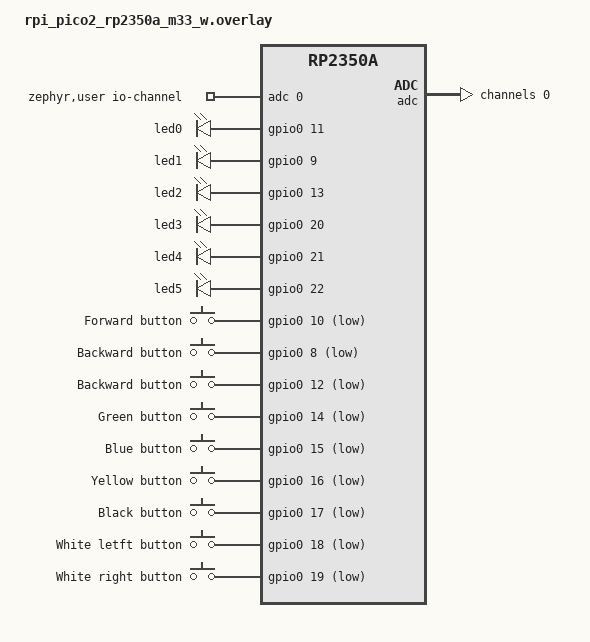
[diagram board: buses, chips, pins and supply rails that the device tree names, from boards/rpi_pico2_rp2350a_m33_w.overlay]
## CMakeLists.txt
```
cmake_minimum_required(VERSION 3.20.0)
find_package(Zephyr REQUIRED HINTS $ENV{ZEPHYR_BASE})
project(dccex-throttle)

target_sources(
	app PRIVATE
	src/banner.c
	src/buttons.c
	src/dcc.c
	src/leds.c
	src/poti.c
	src/queue.c
	src/state.c
)

target_sources_ifdef(CONFIG_WIFI
	app PRIVATE
	src/wifi_connect.c
)

target_sources_ifdef(CONFIG_SHIELD_USB_ACM_SERIAL
	app PRIVATE
	src/console.c
)
```

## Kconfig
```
config GIT_COMMIT
	string "Git commit this image was built from."
	default "unknown"

config POTI_SAMPLES
	int "Number of samples to be made on ADC channel for the potentiometer."
	default 10

config POTI_MIN
	int "The mnimum raw adc value where speed = 127 (range 0-4095)."
	default 2600

config POTI_MAX
	int "The maximum raw adc value where speed = 0 (range 0-4095)."
	default 2830

config POTI_POLL_MSEC
	int "The polling interval in milliseconds."
	default 500

config WIFI_SSID
	string "The SSID of the DCC-EX wifi to connect to."

config WIFI_PASSWORD
	string "The password for the DCC-EX wifi to connect to."

config DCC_IP
	string "The IP of the DCC-EX control center."
	default "192.168.4.1"

source "Kconfig.zephyr"
```

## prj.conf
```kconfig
# Potentiometer input
CONFIG_ADC=y

# Networking
CONFIG_NETWORKING=y
CONFIG_TEST_RANDOM_GENERATOR=y

CONFIG_MAIN_STACK_SIZE=5200
CONFIG_NET_TX_STACK_SIZE=2048
CONFIG_NET_RX_STACK_SIZE=2048

CONFIG_NET_PKT_RX_COUNT=16
CONFIG_NET_PKT_TX_COUNT=16
CONFIG_NET_BUF_RX_COUNT=128
CONFIG_NET_BUF_TX_COUNT=128
CONFIG_NET_MAX_CONTEXTS=32
CONFIG_NET_DHCPV4=y

CONFIG_NET_IPV4=y
CONFIG_NET_IPV6=n
CONFIG_NET_SOCKETS=y

CONFIG_NET_TCP=y

CONFIG_NET_LOG=y
CONFIG_INIT_STACKS=y

# Wifi
CONFIG_WIFI=y
CONFIG_WIFI_LOG_LEVEL_ERR=y
```

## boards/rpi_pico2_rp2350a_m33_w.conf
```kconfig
# Wifi hardware
CONFIG_USE_INFINEON_ABSTRACTION_RTOS=y
```

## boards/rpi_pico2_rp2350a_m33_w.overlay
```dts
/ {
	aliases {
		btn-forward = &button0;
		btn-backward = &button1;
		btn-stop = &button2;
		btn-white-left = &button7;
		btn-white-right = &button8;
		btn-yellow = &button5;
		btn-black = &button6;
		btn-green = &button3;
		btn-blue = &button4;
		led-forward = &led0;
		led-backward = &led1;
		led-stop = &led2;
		led-blue = &led3;
		led-green = &led4;
		led-red = &led5;
	};
	zephyr,user {
		io-channels = <&adc 0>;
	};

	leds {
		compatible = "gpio-leds";
		led0: led_0 {
			gpios = <&gpio0 11 GPIO_ACTIVE_HIGH>;
		};
		led1: led_1 {
			gpios = <&gpio0 9 GPIO_ACTIVE_HIGH>;
		};
		led2: led_2 {
			gpios = <&gpio0 13 GPIO_ACTIVE_HIGH>;
		};
		led3: led_3 {
			gpios = <&gpio0 20 GPIO_ACTIVE_HIGH>;
		};
		led4: led_4 {
			gpios = <&gpio0 21 GPIO_ACTIVE_HIGH>;
		};
		led5: led_5 {
			gpios = <&gpio0 22 GPIO_ACTIVE_HIGH>;
		};
	};

	buttons {
			 compatible = "gpio-keys";
			 button0: button_0 {
					 gpios = <&gpio0 10 (GPIO_PULL_UP|GPIO_ACTIVE_LOW)>;
					 label = "Forward button";
			 };
			 button1: button_1 {
					 gpios = <&gpio0 8 (GPIO_PULL_UP|GPIO_ACTIVE_LOW)>;
					 label = "Backward button";
			 };
			 button2: button_2 {
					 gpios = <&gpio0 12 (GPIO_PULL_UP|GPIO_ACTIVE_LOW)>;
					 label = "Backward button";
			 };
			 button3: button_3 {
					 gpios = <&gpio0 14 (GPIO_PULL_UP|GPIO_ACTIVE_LOW)>;
					 label = "Green button";
			 };
			 button4: button_4 {
					 gpios = <&gpio0 15 (GPIO_PULL_UP|GPIO_ACTIVE_LOW)>;
					 label = "Blue button";
			 };
			 button5: button_5 {
					 gpios = <&gpio0 16 (GPIO_PULL_UP|GPIO_ACTIVE_LOW)>;
					 label = "Yellow button";
			 };
			 button6: button_6 {
					 gpios = <&gpio0 17 (GPIO_PULL_UP|GPIO_ACTIVE_LOW)>;
					 label = "Black button";
			 };
			 button7: button_7 {
					 gpios = <&gpio0 18 (GPIO_PULL_UP|GPIO_ACTIVE_LOW)>;
					 label = "White letft button";
			 };
			 button8: button_8 {
					 gpios = <&gpio0 19 (GPIO_PULL_UP|GPIO_ACTIVE_LOW)>;
					 label = "White right button";
			 };
	 };
};

&adc {
	#address-cells = <1>;
	#size-cells = <0>;

	channel@0 {
		reg = <0>;
		zephyr,gain = "ADC_GAIN_1";
		zephyr,reference = "ADC_REF_INTERNAL";
		zephyr,acquisition-time = <ADC_ACQ_TIME_DEFAULT>;
		zephyr,resolution = <12>;
	};
};
```

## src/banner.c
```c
#include <zephyr/kernel.h>

#include "thread_prios.h"

static int app_banner() {
    printk("DCC-EX Throttle (c) 2026 Henning Eggers\n");
    printk("built version %s\n", CONFIG_GIT_COMMIT);
    return 0;
}

SYS_INIT(app_banner, APPLICATION, APP_BANNER_PRIO);
```

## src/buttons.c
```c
#include <stdint.h>
#include <sys/_types.h>
#include <zephyr/kernel.h>
#include <zephyr/drivers/gpio.h>
#include <zephyr/logging/log.h>

#include "thread_prios.h"
#include "queue.h"

LOG_MODULE_REGISTER(BUTTONS);

#define BTN_FORWARD DT_ALIAS(btn_forward)
#define BTN_BACKWARD DT_ALIAS(btn_backward)
#define BTN_STOP DT_ALIAS(btn_stop)
#define BTN_WHITE_LEFT DT_ALIAS(btn_white_left)
#define BTN_WHITE_RIGHT DT_ALIAS(btn_white_right)
#define BTN_YELLOW DT_ALIAS(btn_yellow)
#define BTN_BLACK DT_ALIAS(btn_black)
#define BTN_GREEN DT_ALIAS(btn_green)
#define BTN_BLUE DT_ALIAS(btn_blue)

#define BTN_DEBOUNCE_MSEC 500

static int btn_init();
static void btn_ctrl_init_callback(void);
static void btn_func_init_callback(void);
static void btn_ctrl_pressed(const struct device *dev, struct gpio_callback *cb, uint32_t pins);
static void btn_func_pressed(const struct device *dev, struct gpio_callback *cb, uint32_t pins);
static bool debounce(gpio_pin_t pin);

SYS_INIT(btn_init, APPLICATION, BTN_INIT_PRIO);

struct buttons
{
	struct gpio_dt_spec forward;
	struct gpio_dt_spec backward;
	struct gpio_dt_spec stop;
	struct gpio_dt_spec white_left;
	struct gpio_dt_spec white_right;
	struct gpio_dt_spec yellow;
	struct gpio_dt_spec black;
	struct gpio_dt_spec green;
	struct gpio_dt_spec blue;
};

static struct buttons buttons = {
	.forward = GPIO_DT_SPEC_GET(BTN_FORWARD, gpios),
	.backward = GPIO_DT_SPEC_GET(BTN_BACKWARD, gpios),
	.stop = GPIO_DT_SPEC_GET(BTN_STOP, gpios),
	.white_left = GPIO_DT_SPEC_GET(BTN_WHITE_LEFT, gpios),
	.white_right = GPIO_DT_SPEC_GET(BTN_WHITE_RIGHT, gpios),
	.yellow = GPIO_DT_SPEC_GET(BTN_YELLOW, gpios),
	.black = GPIO_DT_SPEC_GET(BTN_BLACK, gpios),
	.green = GPIO_DT_SPEC_GET(BTN_GREEN, gpios),
	.blue = GPIO_DT_SPEC_GET(BTN_BLUE, gpios)
};

static int btn_init()
{
	gpio_pin_configure_dt(&buttons.forward, GPIO_INPUT);
	gpio_pin_configure_dt(&buttons.backward, GPIO_INPUT);
	gpio_pin_configure_dt(&buttons.stop, GPIO_INPUT);
	gpio_pin_configure_dt(&buttons.white_left, GPIO_INPUT);
	gpio_pin_configure_dt(&buttons.white_right, GPIO_INPUT);
	gpio_pin_configure_dt(&buttons.yellow, GPIO_INPUT);
	gpio_pin_configure_dt(&buttons.black, GPIO_INPUT);
	gpio_pin_configure_dt(&buttons.green, GPIO_INPUT);
	gpio_pin_configure_dt(&buttons.blue, GPIO_INPUT);

	btn_ctrl_init_callback();
	btn_func_init_callback();

	LOG_INF("Buttons initialized");
	return 0;
}

static struct gpio_callback buttons_ctrl_cb_data;
static struct gpio_callback buttons_func_cb_data;

static void btn_ctrl_init_callback(void)
{
	unsigned int pin_mask = BIT(buttons.forward.pin) | BIT(buttons.backward.pin) | BIT(buttons.stop.pin);
	gpio_pin_interrupt_configure_dt(&buttons.forward, GPIO_INT_EDGE_FALLING);
	gpio_pin_interrupt_configure_dt(&buttons.backward, GPIO_INT_EDGE_FALLING);
	gpio_pin_interrupt_configure_dt(&buttons.stop, GPIO_INT_EDGE_FALLING);
	gpio_init_callback(&buttons_ctrl_cb_data, btn_ctrl_pressed, pin_mask);
	gpio_add_callback(buttons.forward.port, &buttons_ctrl_cb_data);
	LOG_INF("Set up callback for control buttons");
}

static void btn_func_init_callback(void)
{
	unsigned int pin_mask = 0;
	pin_mask |= BIT(buttons.white_left.pin);
	pin_mask |= BIT(buttons.white_right.pin);
	pin_mask |= BIT(buttons.yellow.pin);
	pin_mask |= BIT(buttons.black.pin);
	pin_mask |= BIT(buttons.green.pin);
	pin_mask |= BIT(buttons.blue.pin);

	gpio_pin_interrupt_configure_dt(&buttons.white_left, GPIO_INT_EDGE_FALLING);
	gpio_pin_interrupt_configure_dt(&buttons.white_right, GPIO_INT_EDGE_FALLING);
	gpio_pin_interrupt_configure_dt(&buttons.yellow, GPIO_INT_EDGE_FALLING);
	gpio_pin_interrupt_configure_dt(&buttons.black, GPIO_INT_EDGE_FALLING);
	gpio_pin_interrupt_configure_dt(&buttons.green, GPIO_INT_EDGE_FALLING);
	gpio_pin_interrupt_configure_dt(&buttons.blue, GPIO_INT_EDGE_FALLING);

	gpio_init_callback(&buttons_func_cb_data, btn_func_pressed, pin_mask);
	gpio_add_callback(buttons.white_left.port, &buttons_func_cb_data);
	LOG_INF("Set up callback for function buttons");
}

static void btn_ctrl_pressed(const struct device *dev, struct gpio_callback *cb, uint32_t pins)
{
	if (pins & BIT(buttons.forward.pin) && debounce(buttons.forward.pin))
	{
		int val = gpio_pin_get(dev, buttons.forward.pin);
		LOG_DBG("Forward button pressed, val= %d", val);
		queue_send_direction(DIR_FORWARD);
	}
	if (pins & BIT(buttons.backward.pin) && debounce(buttons.backward.pin))
	{
		int val = gpio_pin_get(dev, buttons.backward.pin);
		LOG_DBG("Backward button pressed, val= %d", val);
		queue_send_direction(DIR_BACKWARD);
	}
	if (pins & BIT(buttons.stop.pin) && debounce(buttons.stop.pin))
	{
		int val = gpio_pin_get(dev, buttons.stop.pin);
		LOG_DBG("STOP button pressed, val= %d", val);
		queue_send_stop();
	}
}

void btn_func_handle(const char* name, const struct device *dev, uint32_t pins, gpio_pin_t pin) {
	if (pins & BIT(pin))
	{
		int val = gpio_pin_get(dev, pin);
		LOG_DBG("%s button pressed, val= %d", name, val);
	}

}

static void btn_func_pressed(const struct device *dev, struct gpio_callback *cb, uint32_t pins)
{
	btn_func_handle("White left", dev, pins, buttons.white_left.pin);
	btn_func_handle("White right", dev, pins, buttons.white_right.pin);
	btn_func_handle("Yellow", dev, pins, buttons.yellow.pin);
	btn_func_handle("Black", dev, pins, buttons.black.pin);
	btn_func_handle("Green", dev, pins, buttons.green.pin);
	btn_func_handle("Blue", dev, pins, buttons.blue.pin);
}

static int64_t btn_uptime[32] = {0};

bool debounce(gpio_pin_t pin) {
	int64_t uptime = k_uptime_get();
	if(uptime - btn_uptime[pin] > BTN_DEBOUNCE_MSEC) {
		btn_uptime[pin] = uptime;
		return true;
	}
	return false;
}
```

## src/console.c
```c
#include <zephyr/kernel.h>
#include <zephyr/init.h>
#include <zephyr/device.h>
#include <zephyr/drivers/uart.h>

#include "thread_prios.h"

BUILD_ASSERT(DT_NODE_HAS_COMPAT(DT_CHOSEN(zephyr_console), zephyr_cdc_acm_uart),
	"Console device is not ACM CDC UART device");

int console_init() {
	const struct device *dev = DEVICE_DT_GET(DT_CHOSEN(zephyr_console));
	uint32_t dtr = 0;

	while (!dtr) {
		uart_line_ctrl_get(dev, UART_LINE_CTRL_DTR, &dtr);
		k_sleep(K_MSEC(100));
	}
	return 0;
}

SYS_INIT(console_init, APPLICATION, CONSOLE_INIT_PRIO);
```

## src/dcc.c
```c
#include <stdint.h>
#include <sys/types.h>
#include <zephyr/kernel.h>
#include <zephyr/init.h>
#include <zephyr/logging/log.h>
#include <zephyr/net/socket.h>

#include "leds.h"
#include "queue.h"
#include "thread_prios.h"
#include "state.h"

LOG_MODULE_REGISTER(DCC);

#define SEND_THREAD_STACK_SIZE 1024
#define RECV_THREAD_STACK_SIZE 1024

typedef struct dcc_connection {
	int sock;
} DccConnection;

typedef struct dcc_message {
	int addr;
	int speed;
	int direction;
} DccCommand;

DccConnection dcc_conn = {
	.sock = -1
};

DccCommand last_cmd = {
	.addr = 3,
	.speed = 0,
	.direction = 1
};


#define DCC_ON "<1>"
#define DCC_OFF "<0>"
#define DCC_PING "<#>"
#define DCC_STOP "<!>"
#define DCC_LOCO_STAT "<t 3>"

static int dcc_connect();
static void dcc_send_thread_entry(void *arg1, void *arg2, void *arg3);
static void dcc_recv_thread_entry(void *arg1, void *arg2, void *arg3);
static void update_cmd_from_state(Velocity state, DccCommand *cmd);
static int dcc_send(DccConnection* conn, char* command);
static void dcc_format_command(char *cmd_buffer, DccCommand cmd);
static void dcc_function_command(char *cmd_buffer, int addr, int function, int onoff);
static int recv_answer(DccConnection *conn, char* answer);
static bool dcc_decode_answer(char *answer, Velocity *current);
static Velocity dcc_decode_velocity(int velocity);

SYS_INIT(dcc_connect, APPLICATION, DCC_CONNECT_PRIO);

K_THREAD_DEFINE(dcc_send_thread, SEND_THREAD_STACK_SIZE,
				dcc_send_thread_entry, &dcc_conn, NULL, NULL,
				SEND_THREAD_PRIORITY, 0, 0);

K_THREAD_DEFINE(dcc_recv_thread, RECV_THREAD_STACK_SIZE,
				dcc_recv_thread_entry, &dcc_conn, NULL, NULL,
				RECV_THREAD_PRIORITY, 0, 0);

int dcc_connect() {
	char *dcc_ip = CONFIG_DCC_IP;
	LOG_INF("Connecting to DCC at %s", dcc_ip);

	struct sockaddr_in addr4 = {
		.sin_family = AF_INET,
		.sin_port = htons(2560)
	};
	zsock_inet_pton(AF_INET, dcc_ip, &addr4.sin_addr);

	int sock = zsock_socket(AF_INET, SOCK_STREAM, IPPROTO_TCP);
	if (sock < 0) {
		LOG_ERR("Creating socket failed: %d", errno);
		return -errno;
	}

	int ret;
	while (1) {
		ret = zsock_connect(sock, (struct sockaddr *)&addr4, sizeof(addr4));
		if (ret == 0) {
			LOG_INF("Connected to DCC at %s", dcc_ip);
			break;
		}
		LOG_ERR("Cannot connect to TCP remote: %s. Retrying.", strerror(errno));
	}

	dcc_conn.sock = sock;

	leds_set_stage(STAGE_BLUE);
	return 0;
}

static void dcc_send_thread_entry(void *arg1, void *arg2, void *arg3) {
	LOG_INF("send_thread starting");
	DccConnection *conn = (DccConnection *)arg1;
	char dcc_command[20];
	Velocity current;
	dcc_function_command(dcc_command, last_cmd.addr, 0, 1);
	dcc_send(conn, dcc_command);
	int seconds_since_last_send = 0;
	while(1) {
		if(wait_velocity_change(&current, K_SECONDS(1))) {
			LOG_INF("changed");
			leds_update_from_velocity(current);
			if(current.stop) {
				dcc_send(conn, DCC_STOP);
			} else {
				update_cmd_from_state(current, &last_cmd);
				dcc_format_command(dcc_command, last_cmd);
				dcc_send(conn, dcc_command);
			}
			seconds_since_last_send = 0;
		} else if(seconds_since_last_send > 60) {
			dcc_send(conn, DCC_PING);
			seconds_since_last_send = 0;
		}
		seconds_since_last_send++;
	}
}

static void dcc_recv_thread_entry(void *arg1, void *arg2, void *arg3)
{
	LOG_INF("recv_thread starting");
	DccConnection *conn = (DccConnection *)arg1;
	Velocity current = {
		.speed = 0,
		.direction = DIR_FORWARD,
		.stop = false
	};
	char answer[101];
	while (1) {
		int ret = recv_answer(conn, answer);
		if(ret > 0 && dcc_decode_answer(answer, &current)) {
			LOG_INF("speed: %d, direction: %d ", current.speed, current.direction);
		}
	}
}

void update_cmd_from_state(Velocity state, DccCommand *cmd) {
	cmd->speed = state.speed;
	cmd->direction = state.direction;
}

int recv_answer(DccConnection *conn, char* answer){
	int ret;

	LOG_DBG("Trying to recv...");

	ret = zsock_recv(conn->sock, answer, 100, 0);
	LOG_INF("Received: %d", ret);

	if (ret < 0) {
		LOG_ERR("Cannot recv from remote: %s", strerror(errno));
	} else 	if (ret == 0) {
		LOG_DBG("Received nothing");
		k_sleep(K_MSEC(100));
	} else {
		answer[ret] = '\0';
		LOG_INF("'%s'", answer);
	}
	return ret;
}

bool dcc_decode_answer(char *answer, Velocity *current) {
	int velocity, flags;
	int n_decoded = sscanf(answer, "<l 3 0 %d %d>", &velocity, &flags);
	if(n_decoded == 2) {
		*current = dcc_decode_velocity(velocity);
		return true;
	}
	return false;
}

Velocity dcc_decode_velocity(int velocity) {
	Velocity new_velocity;
	if (velocity > 127 ) {
		new_velocity.direction = DIR_FORWARD;
		velocity -= 129;
	} else {
		new_velocity.direction = DIR_BACKWARD;
		velocity -= 1;
	}
	new_velocity.speed = velocity <= 0 ? 0 : velocity;
	new_velocity.stop = velocity == 0;
	return new_velocity;
}

int dcc_send(DccConnection* conn, char* command) {
	int ret;
	LOG_INF("Sending command '%s'", command);
	ret = zsock_send(conn->sock, command, strlen(command), 0);
	if (ret < 0) {
		LOG_ERR("Cannot send to remote: %s", strerror(errno));
		return -errno;
	}

	return 0;
}

void dcc_format_command(char *cmd_buffer, DccCommand cmd){
	sprintf(cmd_buffer, "<t %d %d %d>", cmd.addr, cmd.speed, cmd.direction);
}

void dcc_function_command(char *cmd_buffer, int addr, int function, int onoff){
	sprintf(cmd_buffer, "<F %d %d %d>", addr, function, onoff);
}


// Ping (no of loco slots) "<#>"
// Track Info "<=>"
// Power on Track A "<1 A>"
// Power off Track A "<0 A>"
// Loco roster "<J R>"
// Loco 3 stop fwd "<F 3 0 0>"
// Loco 3 stop bwd "<F 3 0 1>"
// Loco 3 all off "<t 3 0 0>"
// Loco 3 Fn 0 on (?) "<t 3 0 1>"
```

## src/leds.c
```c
#include <sys/_types.h>
#include <zephyr/kernel.h>
#include <zephyr/drivers/gpio.h>
#include <zephyr/logging/log.h>

#include "queue.h"
#include "thread_prios.h"
#include "state.h"
#include "leds.h"

LOG_MODULE_REGISTER(LEDS);

#define LED_FORWARD DT_ALIAS(led_forward)
#define LED_BACKWARD DT_ALIAS(led_backward)
#define LED_STOP DT_ALIAS(led_stop)
#define LED_RED DT_ALIAS(led_red)
#define LED_GREEN DT_ALIAS(led_green)
#define LED_BLUE DT_ALIAS(led_blue)

#if !DT_NODE_HAS_STATUS(LED_FORWARD, okay)
#error "Unsupported board: led-forward devicetree alias is not defined"
#endif
#if !DT_NODE_HAS_STATUS(LED_BACKWARD, okay)
#error "Unsupported board: led-backward devicetree alias is not defined"
#endif
#if !DT_NODE_HAS_STATUS(LED_STOP, okay)
#error "Unsupported board: led-stop devicetree alias is not defined"
#endif
#if !DT_NODE_HAS_STATUS(LED_RED, okay)
#error "Unsupported board: led-red devicetree alias is not defined"
#endif
#if !DT_NODE_HAS_STATUS(LED_GREEN, okay)
#error "Unsupported board: led-green devicetree alias is not defined"
#endif
#if !DT_NODE_HAS_STATUS(LED_BLUE, okay)
#error "Unsupported board: led-blue devicetree alias is not defined"
#endif

struct leds
{
	struct gpio_dt_spec forward;
	struct gpio_dt_spec backward;
	struct gpio_dt_spec stop;
	struct gpio_dt_spec red;
	struct gpio_dt_spec green;
	struct gpio_dt_spec blue;
};

static struct leds leds = {
	.forward = GPIO_DT_SPEC_GET(LED_FORWARD, gpios),
	.backward = GPIO_DT_SPEC_GET(LED_BACKWARD, gpios),
	.stop = GPIO_DT_SPEC_GET(LED_STOP, gpios),
	.red = GPIO_DT_SPEC_GET(LED_RED, gpios),
	.green = GPIO_DT_SPEC_GET(LED_GREEN, gpios),
	.blue = GPIO_DT_SPEC_GET(LED_BLUE, gpios)
};

static int leds_init();
static void leds_init_led(struct gpio_dt_spec *spec, const char *led_name);

SYS_INIT(leds_init, APPLICATION, LEDS_INIT_PRIO);

static int leds_init()
{
	leds_init_led(&leds.forward, "forward");
	leds_init_led(&leds.backward, "backward");
	leds_init_led(&leds.stop, "stop");
	leds_init_led(&leds.red, "red");
	leds_init_led(&leds.green, "green");
	leds_init_led(&leds.blue, "blue");

	LOG_INF("LEDs initialized");
	leds_set_stage(STAGE_RED);
	return 0;
}

static void leds_init_led(struct gpio_dt_spec *spec, const char *led_name) {
	gpio_pin_configure_dt(spec, GPIO_OUTPUT | DT_GPIO_FLAGS(LED_FORWARD, gpios ) | GPIO_OUTPUT_INACTIVE);
	if (!gpio_is_ready_dt(spec)) {
		LOG_ERR("Error: %s led device not ready", led_name);
	}
}

void leds_update_from_velocity(Velocity velocity) {
	gpio_pin_set_dt(&leds.forward, velocity.direction == DIR_FORWARD ? 1 : 0);
	gpio_pin_set_dt(&leds.backward, velocity.direction == DIR_BACKWARD ? 1 : 0);
	gpio_pin_set_dt(&leds.stop, velocity.stop ? 1 : 0);
}

void leds_set_stage(int stage) {
	gpio_pin_set_dt(&leds.red, 0);
	gpio_pin_set_dt(&leds.green, 0);
	gpio_pin_set_dt(&leds.blue, 0);
	struct gpio_dt_spec *spec = &leds.green;
	switch(stage) {
	case STAGE_RED:
		spec = &leds.red;
		break;
	case STAGE_GREEN:
		spec = &leds.green;
		break;
	case STAGE_BLUE:
		spec = &leds.blue;
		break;
	}
	gpio_pin_set_dt(spec, 1);
}
```

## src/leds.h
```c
#ifndef _LEDS_H_
#define _LEDS_H_

#include "state.h"

#define STAGE_GREEN 3
#define STAGE_RED 2
#define STAGE_BLUE 1

extern void leds_update_from_velocity(Velocity velocity);
extern void leds_set_stage(int stage);

#endif
```

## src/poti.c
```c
/*
 * Copyright (c) 2020 Libre Solar Technologies GmbH
 *
 * SPDX-License-Identifier: Apache-2.0
 */

#include <stdlib.h>
#include <inttypes.h>
#include <stddef.h>
#include <stdint.h>
#include <stdbool.h>

#include <zephyr/device.h>
#include <zephyr/devicetree.h>
#include <zephyr/drivers/adc.h>
#include <zephyr/kernel.h>
#include <zephyr/sys/util.h>
#include <zephyr/logging/log.h>

#include "thread_prios.h"
#include "queue.h"

LOG_MODULE_REGISTER(POTI);

#if !DT_NODE_EXISTS(DT_PATH(zephyr_user))
#error "No suitable devicetree overlay specified"
#endif

#define POTI_THREAD_STACK_SIZE 1024

#define POTI_RANGE (CONFIG_POTI_MAX - CONFIG_POTI_MIN)

static const struct adc_dt_spec adc_poti = ADC_DT_SPEC_GET_BY_IDX(DT_PATH(zephyr_user), 0);

static uint16_t samples[CONFIG_POTI_SAMPLES];
static const struct adc_sequence_options options = {
	.extra_samplings = CONFIG_POTI_SAMPLES - 1,
	.interval_us = 0,
};
static struct adc_sequence sequence = {
	.buffer = samples,
	.buffer_size = sizeof(samples),
	.options = &options,
};

uint16_t calc_avg(uint16_t *samples);
int32_t convert_to_speed(int32_t raw_val);
bool has_speed_changed(int32_t speed);
static int32_t poti_read(const struct adc_dt_spec *adc_poti);
static void poti_handle(int32_t value);
static void poti_poll_loop();
static bool poti_setup();
static void poti_thread_entry(void *arg1, void *arg2, void *arg3);


K_THREAD_DEFINE(poti_thread, POTI_THREAD_STACK_SIZE,
				poti_thread_entry, NULL, NULL, NULL,
				POTI_THREAD_PRIORITY, 0, 0);


static void poti_thread_entry(void *arg1, void *arg2, void *arg3) {
	LOG_INF("poti_thread starting");
	if (!poti_setup()) {
		return;
	}
	poti_poll_loop();
}

static bool poti_setup() {
	int err;

	/* Configure channel prior to sampling. */
	if (!adc_is_ready_dt(&adc_poti)) {
		LOG_ERR("ADC controller device %s not ready", adc_poti.dev->name);
		return false;
	}

	err = adc_channel_setup_dt(&adc_poti);
	if (err < 0) {
		LOG_ERR("Could not setup adcchannel (%d)", err);
		return false;
	}
	return true;
}

static void poti_poll_loop() {
	int32_t value;
	
	while (1) {
		value = poti_read(&adc_poti);
		if (value < 0) {
			LOG_WRN("Could not read (%d)", value);
			continue;
		}
		poti_handle(value);
		k_sleep(K_MSEC(CONFIG_POTI_POLL_MSEC));
	}
}

static int32_t poti_read(const struct adc_dt_spec *adc_poti) {
	(void)adc_sequence_init_dt(adc_poti, &sequence);

	int err = adc_read_dt(adc_poti, &sequence);
	if (err < 0) {
		return (int32_t)err;
	}
	return calc_avg(samples);
}

uint16_t calc_avg(uint16_t *samples) {
	uint32_t sum = 0;
	for (int i = 0; i < CONFIG_POTI_SAMPLES; i++) {
		sum += samples[i];
	}
	return (uint16_t)(sum / CONFIG_POTI_SAMPLES);
}

static int32_t last_sent_speed;

static void poti_handle(int32_t value) {
	int32_t speed = convert_to_speed(value);
	if (has_speed_changed(speed)) {
		queue_send_speed(speed);
		last_sent_speed = speed;
	}
}

bool has_speed_changed(int32_t speed) {
	return speed != last_sent_speed && (
		speed == 0 || speed >= 127 || abs(speed-last_sent_speed) > 2
	);
}

int32_t convert_to_speed(int32_t raw_val) {
	if (raw_val < CONFIG_POTI_MIN) {
		raw_val = 0;
	} else if (raw_val >= CONFIG_POTI_MAX) {
		raw_val = POTI_RANGE;
	} else {
		raw_val -= CONFIG_POTI_MIN;
	}

	// The poti was connected backwards.
	double ratio = 1.0 - ((double)raw_val)/POTI_RANGE;

	return (int32_t)(ratio * 127.0);
}
```

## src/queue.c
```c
#include <stdint.h>

#include <zephyr/kernel.h>
#include <zephyr/sys/util.h>
#include <zephyr/logging/log.h>

#include "queue.h"

LOG_MODULE_REGISTER(QUEUE);

K_MSGQ_DEFINE(ctrl_queue, sizeof(struct message), 20, 1);


static void queue_send(struct message *msg) {
	while (k_msgq_put(&ctrl_queue, msg, K_NO_WAIT) != 0) {
		/* message queue is full: purge old data & try again */
		k_msgq_purge(&ctrl_queue);
	}
}

static void queue_send_first(struct message *msg) {
	while (k_msgq_put_front(&ctrl_queue, msg) != 0) {
		/* message queue is full: purge old data & try again */
		k_msgq_purge(&ctrl_queue);
	}
}

void queue_send_speed(int16_t speed) {
	struct message speed_msg = {
		.type = MSG_SPEED,
		.value = speed
	};
	queue_send(&speed_msg);
}

void queue_send_direction(int16_t direction) {
	struct message direction_msg = {
		.type = MSG_DIRECTION,
		.value = direction
	};
	queue_send(&direction_msg);
}

void queue_send_stop() {
	struct message stop_msg = {
		.type = MSG_STOP,
		.value = 0
	};
	queue_send_first(&stop_msg);
}

struct message queue_wait_receive() {
	struct message received_msg;
	int err;
	do {
		err = k_msgq_get(&ctrl_queue, &received_msg, K_FOREVER);
	} while(err != 0);
	return received_msg;
}

int sprintf_message(char* buf, struct message msg) {
	switch(msg.type) {
	case MSG_SPEED:
		return sprintf(buf, "Speed %d", msg.value);
	case MSG_DIRECTION:
		return sprintf(buf, "Direction %s", msg.value == DIR_FORWARD ? "Forward" : "Backward");
	case MSG_STOP:
		return sprintf(buf, "Stop");
	default:
		return 0;
	}
}
```

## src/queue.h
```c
#ifndef _QUEUE_H_
#define _QUEUE_H_

#include <stdint.h>
#include <stdbool.h>

#define MSG_SPEED 0
#define MSG_DIRECTION 1
#define MSG_STOP 2

#define DIR_FORWARD ((int16_t)1)
#define DIR_BACKWARD ((int16_t)0)

struct message {
	int16_t type;
	int16_t value;
};

extern void queue_send_speed(int16_t speed);
extern void queue_send_direction(int16_t direction);
extern void queue_send_stop();
extern struct message queue_wait_receive();
extern void send_velocity_zero();
extern int sprintf_message(char *buf, struct message msg);

#endif
```

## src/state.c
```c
#include <stdint.h>
#include <zephyr/kernel.h>
#include <zephyr/logging/log.h>

#include "thread_prios.h"
#include "queue.h"
#include "state.h"

LOG_MODULE_REGISTER(STATE);

#define STATE_THREAD_STACK_SIZE 1024

enum state {
	halted_fwd,
	halted_bwd,
	driving,
	reverting,
	stopping,
	stopped,
};

const char* state_strings[] = {
	"Halted Forward",
	"Halted Backward",
	"Driving",
	"Reverting",
	"Stopping",
	"Stopped",
};

K_MSGQ_DEFINE(state_changed, sizeof(Velocity), 20, 1);

Velocity dcc_velocity = {
	.speed = 0,
	.direction = DIR_FORWARD,
	.stop = true,
};

static void update_velocity_from_message(Velocity *velocity, struct message msg);
static void desired_state_thread_entry(void *arg1, void *arg2, void *arg3);
static bool step_state(enum state *state, Velocity new_v);
static void send_velocity(Velocity *current_v);

K_THREAD_DEFINE(desired_state_thread, STATE_THREAD_STACK_SIZE,
				desired_state_thread_entry, NULL, NULL, NULL,
				STATE_THREAD_PRIORITY, 0, 0);

static void log_message(struct message msg){
	char message_string[20];
	if(sprintf_message(message_string, msg) > 0){
		LOG_INF("Received message: %s", message_string);
	}
}

static void desired_state_thread_entry(void *arg1, void *arg2, void *arg3) {
	enum state current_state = halted_fwd;
	struct message msg;
	Velocity desired_velocity = dcc_velocity;
	send_velocity(&dcc_velocity);
	while(1) {
		msg = queue_wait_receive();
		log_message(msg);
		update_velocity_from_message(&desired_velocity, msg);
		if(step_state(&current_state, desired_velocity)){
			LOG_INF("New state (speed): %s (%d)", state_strings[current_state], dcc_velocity.speed);
			send_velocity(&dcc_velocity);
		}
		k_yield();
	}
}

void send_velocity_zero() {
	Velocity zero_v = {
		.speed = 0,
		.direction = dcc_velocity.direction,
		.stop = false,
	};
	send_velocity(&zero_v);
}

void send_velocity(Velocity *current_v) {
	while (k_msgq_put(&state_changed, current_v, K_NO_WAIT) != 0) {
		/* message queue is full: purge old data & try again */
		k_msgq_purge(&state_changed);
	}
}

bool wait_velocity_change(Velocity *velocity, k_timeout_t timeout) {
//	printk(" waiting state_changed\n");
	int result = k_msgq_get(&state_changed, velocity, timeout);
	bool has_changed = result == 0;
//	printk("state_changed: %d (%d)\n",has_changed, result);
	return has_changed;
};

void update_velocity_from_message(Velocity *velocity, struct message msg) {
	velocity->stop = false;
	switch(msg.type) {
	case MSG_SPEED:
		velocity->speed = msg.value;
		break;
	case MSG_DIRECTION:
		velocity->direction = msg.value;
		break;
	case MSG_STOP:
		velocity->stop = true;
		break;
	}
}

#define get_halted_state(v) (v.direction == DIR_FORWARD ? halted_fwd : halted_bwd)

typedef enum state (*StepFunction)(Velocity new_v);

enum state step_state_halted(Velocity new_v) {
	dcc_velocity.speed = 0;
	dcc_velocity.direction = new_v.direction;
	if (new_v.stop) {
		// Allows emergency stop while loco is still decelerating.
		dcc_velocity.stop = true;
		// Trigger a return to halted.
		queue_send_speed(0);
		return stopped;
	}
	if (new_v.speed > 0) {
		dcc_velocity.speed = new_v.speed;
		return driving;
	}
	return get_halted_state(new_v);
}

enum state step_state_driving(Velocity new_v) {
	dcc_velocity.speed = new_v.speed;
	if (new_v.stop) {
		dcc_velocity.stop = true;
		dcc_velocity.speed = 0;
		return stopping;
	}
	if (new_v.speed == 0) {
		return get_halted_state(new_v);
	}
	if (dcc_velocity.direction != new_v.direction) {
		dcc_velocity.speed = 0;
		dcc_velocity.direction = new_v.direction;
		return reverting;
	}
	return driving;
}

enum state step_state_reverting(Velocity new_v) {
	dcc_velocity.speed = 0;
	if (new_v.stop) {
		dcc_velocity.stop = true;
		return stopping;
	}
	if (new_v.speed == 0) {
		dcc_velocity.direction = new_v.direction;
		return get_halted_state(new_v);
	}
	return reverting;
}

enum state step_state_stopping(Velocity new_v) {
	dcc_velocity.stop = false;
	dcc_velocity.speed = 0;
	if (new_v.speed == 0) {
		dcc_velocity.direction = new_v.direction;
		return get_halted_state(new_v);
	}
	return stopping;
}

StepFunction steps[] = {
	step_state_halted,
	step_state_halted,
	step_state_driving,
	step_state_reverting,
	step_state_stopping,
	step_state_stopping,
};

bool step_state(enum state *state, Velocity new_v) {
	bool has_speed_changed = new_v.speed != dcc_velocity.speed;
	dcc_velocity.stop = false;

	enum state new_state = steps[*state](new_v);
	bool has_state_changed = new_state != *state;
	*state = new_state;

	return *state == driving ? has_speed_changed : has_state_changed;
}
```

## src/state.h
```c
#ifndef _STATE_H_
#define _STATE_H_

#include "zephyr/sys/clock.h"
#include <stdint.h>
#include <stdbool.h>

typedef struct velocity_state {
    uint16_t speed;
    uint16_t direction;
    bool     stop;
} Velocity;

extern bool wait_velocity_change(Velocity *velocity, k_timeout_t timeout);

#endif
```

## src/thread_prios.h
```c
#ifndef _THREAD_PRIOS_H_
#define _THREAD_PRIOS_H_

#define APP_BANNER_PRIO 95
#define CONSOLE_INIT_PRIO 96
#define BTN_INIT_PRIO 97
#define LEDS_INIT_PRIO 97
#define WIFI_CONNECT_PRIO 98
#define DCC_CONNECT_PRIO 99

#define POTI_THREAD_PRIORITY -10
#define STATE_THREAD_PRIORITY 99
#define SEND_THREAD_PRIORITY 99
#define RECV_THREAD_PRIORITY 99

#endif
```
